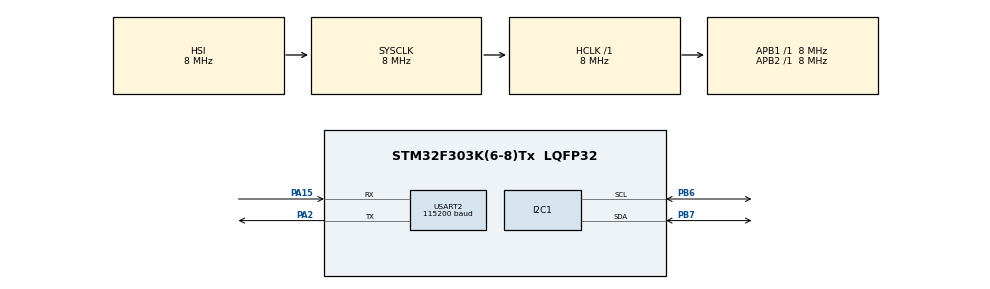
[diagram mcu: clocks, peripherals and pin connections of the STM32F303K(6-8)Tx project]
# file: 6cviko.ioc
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I2C1.Timing=0x00201D2B
Mcu.Family=STM32F3
Mcu.Name=STM32F303K(6-8)Tx
Mcu.Package=LQFP32
NVIC.I2C1_EV_IRQn=true\:0\:0\:false\:false\:true\:true\:true\:true
NVIC.PriorityGroup=NVIC_PRIORITYGROUP_4
PA13.Mode=Serial_Wire
PA13.Signal=SYS_JTMS-SWDIO
PA14.Mode=Serial_Wire
PA14.Signal=SYS_JTCK-SWCLK
PA15.Mode=Asynchronous
PA15.Signal=USART2_RX
PA2.Mode=Asynchronous
PA2.Signal=USART2_TX
PB6.Mode=I2C
PB6.Signal=I2C1_SCL
PB7.Mode=I2C
PB7.Signal=I2C1_SDA
ProjectManager.HeapSize=0x200
ProjectManager.StackSize=0x400
ProjectManager.TargetToolchain=STM32CubeIDE
RCC.AHBFreq_Value=8000000
RCC.APB1Freq_Value=8000000
RCC.APB2Freq_Value=8000000
RCC.CortexFreq_Value=8000000
RCC.HSE_VALUE=8000000
RCC.HSI_VALUE=8000000
RCC.SYSCLKFreq_VALUE=8000000
USART2.BaudRate=115200
USART2.VirtualMode-Asynchronous=VM_ASYNC
board=custom

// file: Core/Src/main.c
/* USER CODE BEGIN Header */
/**
  ******************************************************************************
  * @file           : main.c
  * @brief          : Main program body
  ******************************************************************************
  * @attention
  *
  * Copyright (c) 2026 STMicroelectronics.
  * All rights reserved.
  *
  * This software is licensed under terms that can be found in the LICENSE file
  * in the root directory of this software component.
  * If no LICENSE file comes with this software, it is provided AS-IS.
  *
  ******************************************************************************
  */
/* USER CODE END Header */
#include "main.h"

/* USER CODE BEGIN Includes */
#include "i2c.h"
#include "sensor_io.h"
#include "hts221/hts221.h"
#include "lps25hb/lps25hb.h"
#include <stdio.h>

/* USER CODE END Includes */

/* USER CODE BEGIN PV */
static SensorIO sensor_io = {0};
static HTS221_Device hts221 = {0};
static LPS25HB_Device lps25hb = {0};
volatile HTS221_InitStatus hts221_init_status = HTS221_INIT_IO_ERROR;
volatile HTS221_MeasureStatus hts221_temperature_status = HTS221_MEASURE_NOT_READY;
volatile HTS221_MeasureStatus hts221_humidity_status = HTS221_MEASURE_NOT_READY;
volatile LPS25HB_Status lps25hb_init_status = LPS25HB_IO_ERROR;
volatile LPS25HB_Status lps25hb_pressure_status = LPS25HB_NOT_READY;
volatile float hts221_temperature_c = 0.0f;
volatile float hts221_humidity_rh = 0.0f;
volatile float lps25hb_pressure_hpa = 0.0f;
volatile float relative_altitude_m = 0.0f;
static float reference_pressure_hpa = 0.0f;
static uint8_t have_temperature = 0U, have_humidity = 0U, have_pressure = 0U;

/* USER CODE END PV */

void SystemClock_Config(void);
static void MX_GPIO_Init(void);
static void MX_I2C1_Init(void);
static void MX_USART2_UART_Init(void);

/* USER CODE BEGIN 0 */
static void USART2_SendText(const char *text)
{
  while (*text != '\0')
  {
    while (!LL_USART_IsActiveFlag_TXE(USART2)) { }
    LL_USART_TransmitData8(USART2, (uint8_t)*text++);
  }
  while (!LL_USART_IsActiveFlag_TC(USART2)) { }
}

/* Format fixed decimal values without depending on printf float support. */
static long rounded_fixed(float value, float scale)
{
  float scaled = value * scale;
  return (long)(scaled + (scaled >= 0.0f ? 0.5f : -0.5f));
}

static void USART2_SendMeasurements(void)
{
  char line[96];
  long t = rounded_fixed(hts221_temperature_c, 10.0f);
  long h = rounded_fixed(hts221_humidity_rh, 1.0f);
  long p = rounded_fixed(lps25hb_pressure_hpa, 100.0f);
  long a = rounded_fixed(relative_altitude_m, 100.0f);
  unsigned long ta = (unsigned long)(t < 0 ? -t : t);
  unsigned long aa = (unsigned long)(a < 0 ? -a : a);
  (void)snprintf(line, sizeof line, "%s%lu.%lu,%ld,%ld.%02ld,%s%lu.%02lu\r\n",
                 t < 0 ? "-" : "", ta / 10UL, ta % 10UL, h,
                 p / 100L, p % 100L, a < 0 ? "-" : "",
                 aa / 100UL, aa % 100UL);
  USART2_SendText(line);
}

/* USER CODE END 0 */

int main(void)
{

  /* MCU Configuration--------------------------------------------------------*/

  /* Reset of all peripherals, Initializes the Flash interface and the Systick. */
  HAL_Init();

  /* Configure the system clock */
  SystemClock_Config();

  /* Initialize all configured peripherals */
  MX_GPIO_Init();
  MX_I2C1_Init();
  MX_USART2_UART_Init();
  /* USER CODE BEGIN 2 */
  uint32_t last_sample_tick = HAL_GetTick();
  SensorIO_Register(&sensor_io, I2C_ReadRegisters, I2C_WriteRegisters);
  hts221_init_status = HTS221_Init(&hts221, &sensor_io);
  lps25hb_init_status = LPS25HB_Init(&lps25hb, &sensor_io);

  /* USER CODE END 2 */

  /* Infinite loop */
  while (1)
  {

    /* USER CODE BEGIN 3 */
    if ((HAL_GetTick() - last_sample_tick) >= 1000U)
    {
      float value;
      last_sample_tick = HAL_GetTick();
      if (hts221_init_status == HTS221_INIT_OK)
      {
        hts221_temperature_status = HTS221_ReadTemperature(&hts221, &value);
        if (hts221_temperature_status == HTS221_MEASURE_OK)
        {
          hts221_temperature_c = value;
          have_temperature = 1U;
        }
        hts221_humidity_status = HTS221_ReadHumidity(&hts221, &value);
        if (hts221_humidity_status == HTS221_MEASURE_OK)
        {
          hts221_humidity_rh = value;
          have_humidity = 1U;
        }
      }
      if (lps25hb_init_status == LPS25HB_OK)
      {
        lps25hb_pressure_status = LPS25HB_ReadPressure(&lps25hb, &value);
        if (lps25hb_pressure_status == LPS25HB_OK && value > 0.0f)
        {
          lps25hb_pressure_hpa = value;
          if (reference_pressure_hpa == 0.0f) reference_pressure_hpa = value;
          relative_altitude_m = LPS25HB_RelativeAltitude(value,
                                                          reference_pressure_hpa);
          have_pressure = 1U;
        }
      }
      if (have_temperature && have_humidity && have_pressure)
        USART2_SendMeasurements();
    }
  }
  /* USER CODE END 3 */
}

void SystemClock_Config(void)
{
  RCC_OscInitTypeDef RCC_OscInitStruct = {0};
  RCC_ClkInitTypeDef RCC_ClkInitStruct = {0};
  RCC_PeriphCLKInitTypeDef PeriphClkInit = {0};

  /** Initializes the RCC Oscillators according to the specified parameters
  * in the RCC_OscInitTypeDef structure.
  */
  RCC_OscInitStruct.OscillatorType = RCC_OSCILLATORTYPE_HSI;
  RCC_OscInitStruct.HSIState = RCC_HSI_ON;
  RCC_OscInitStruct.HSICalibrationValue = RCC_HSICALIBRATION_DEFAULT;
  RCC_OscInitStruct.PLL.PLLState = RCC_PLL_NONE;
  if (HAL_RCC_OscConfig(&RCC_OscInitStruct) != HAL_OK)
  {
    Error_Handler();
  }

  /** Initializes the CPU, AHB and APB buses clocks
  */
  RCC_ClkInitStruct.ClockType = RCC_CLOCKTYPE_HCLK|RCC_CLOCKTYPE_SYSCLK
                              |RCC_CLOCKTYPE_PCLK1|RCC_CLOCKTYPE_PCLK2;
  RCC_ClkInitStruct.SYSCLKSource = RCC_SYSCLKSOURCE_HSI;
  RCC_ClkInitStruct.AHBCLKDivider = RCC_SYSCLK_DIV1;
  RCC_ClkInitStruct.APB1CLKDivider = RCC_HCLK_DIV1;
  RCC_ClkInitStruct.APB2CLKDivider = RCC_HCLK_DIV1;

  if (HAL_RCC_ClockConfig(&RCC_ClkInitStruct, FLASH_LATENCY_0) != HAL_OK)
  {
    Error_Handler();
  }
  PeriphClkInit.PeriphClockSelection = RCC_PERIPHCLK_I2C1;
  PeriphClkInit.I2c1ClockSelection = RCC_I2C1CLKSOURCE_HSI;
  if (HAL_RCCEx_PeriphCLKConfig(&PeriphClkInit) != HAL_OK)
  {
    Error_Handler();
  }
}

static void MX_I2C1_Init(void)
{

  LL_I2C_InitTypeDef I2C_InitStruct = {0};

  LL_GPIO_InitTypeDef GPIO_InitStruct = {0};

  LL_AHB1_GRP1_EnableClock(LL_AHB1_GRP1_PERIPH_GPIOB);
  /**I2C1 GPIO Configuration
  PB6   ------> I2C1_SCL
  PB7   ------> I2C1_SDA
  */
  GPIO_InitStruct.Pin = LL_GPIO_PIN_6|LL_GPIO_PIN_7;
  GPIO_InitStruct.Mode = LL_GPIO_MODE_ALTERNATE;
  GPIO_InitStruct.Speed = LL_GPIO_SPEED_FREQ_HIGH;
  GPIO_InitStruct.OutputType = LL_GPIO_OUTPUT_OPENDRAIN;
  GPIO_InitStruct.Pull = LL_GPIO_PULL_NO;
  GPIO_InitStruct.Alternate = LL_GPIO_AF_4;
  LL_GPIO_Init(GPIOB, &GPIO_InitStruct);

  /* Peripheral clock enable */
  LL_APB1_GRP1_EnableClock(LL_APB1_GRP1_PERIPH_I2C1);

  /* I2C1 interrupt Init */
  NVIC_SetPriority(I2C1_EV_IRQn, NVIC_EncodePriority(NVIC_GetPriorityGrouping(),0, 0));
  NVIC_EnableIRQ(I2C1_EV_IRQn);

  /** I2C Initialization
  */
  LL_I2C_EnableAutoEndMode(I2C1);
  LL_I2C_DisableOwnAddress2(I2C1);
  LL_I2C_DisableGeneralCall(I2C1);
  LL_I2C_EnableClockStretching(I2C1);
  I2C_InitStruct.PeripheralMode = LL_I2C_MODE_I2C;
  I2C_InitStruct.Timing = 0x00201D2B;
  I2C_InitStruct.AnalogFilter = LL_I2C_ANALOGFILTER_ENABLE;
  I2C_InitStruct.DigitalFilter = 0;
  I2C_InitStruct.OwnAddress1 = 0;
  I2C_InitStruct.TypeAcknowledge = LL_I2C_ACK;
  I2C_InitStruct.OwnAddrSize = LL_I2C_OWNADDRESS1_7BIT;
  LL_I2C_Init(I2C1, &I2C_InitStruct);
  LL_I2C_SetOwnAddress2(I2C1, 0, LL_I2C_OWNADDRESS2_NOMASK);

}

static void MX_USART2_UART_Init(void)
{

  LL_USART_InitTypeDef USART_InitStruct = {0};

  LL_GPIO_InitTypeDef GPIO_InitStruct = {0};

  /* Peripheral clock enable */
  LL_APB1_GRP1_EnableClock(LL_APB1_GRP1_PERIPH_USART2);

  LL_AHB1_GRP1_EnableClock(LL_AHB1_GRP1_PERIPH_GPIOA);
  /**USART2 GPIO Configuration
  PA2   ------> USART2_TX
  PA15   ------> USART2_RX
  */
  GPIO_InitStruct.Pin = LL_GPIO_PIN_2|LL_GPIO_PIN_15;
  GPIO_InitStruct.Mode = LL_GPIO_MODE_ALTERNATE;
  GPIO_InitStruct.Speed = LL_GPIO_SPEED_FREQ_HIGH;
  GPIO_InitStruct.OutputType = LL_GPIO_OUTPUT_PUSHPULL;
  GPIO_InitStruct.Pull = LL_GPIO_PULL_NO;
  GPIO_InitStruct.Alternate = LL_GPIO_AF_7;
  LL_GPIO_Init(GPIOA, &GPIO_InitStruct);

  USART_InitStruct.BaudRate = 115200;
  USART_InitStruct.DataWidth = LL_USART_DATAWIDTH_8B;
  USART_InitStruct.StopBits = LL_USART_STOPBITS_1;
  USART_InitStruct.Parity = LL_USART_PARITY_NONE;
  USART_InitStruct.TransferDirection = LL_USART_DIRECTION_TX_RX;
  USART_InitStruct.HardwareFlowControl = LL_USART_HWCONTROL_NONE;
  USART_InitStruct.OverSampling = LL_USART_OVERSAMPLING_16;
  LL_USART_Init(USART2, &USART_InitStruct);
  LL_USART_DisableIT_CTS(USART2);
  LL_USART_ConfigAsyncMode(USART2);
  LL_USART_Enable(USART2);

}

static void MX_GPIO_Init(void)
{

  /* GPIO Ports Clock Enable */
  LL_AHB1_GRP1_EnableClock(LL_AHB1_GRP1_PERIPH_GPIOA);
  LL_AHB1_GRP1_EnableClock(LL_AHB1_GRP1_PERIPH_GPIOB);

}

void Error_Handler(void)
{
  __disable_irq();
  while (1)
  {
  }
}
